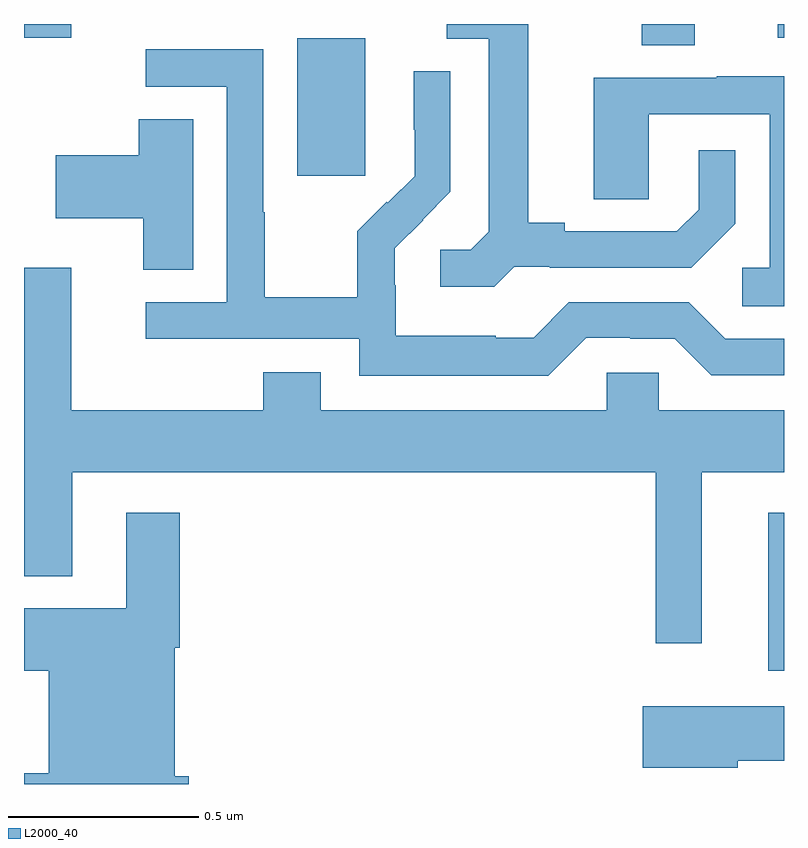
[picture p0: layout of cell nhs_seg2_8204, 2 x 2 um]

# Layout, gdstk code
import gdstk
lib = gdstk.Library(unit=1e-6, precision=1e-09)
def R(c, l, rs):  # rectangles x0, y0, x1, y1
    for r in rs: c.add(gdstk.rectangle(r[:2], r[2:], *l))
def P(c, l, *ps):  # polygons
    for p in ps: c.add(gdstk.Polygon(p, *l))
L2000_40 = (2000, 40)

nhs_seg2_8204 = lib.new_cell('nhs_seg2_8204')
R(nhs_seg2_8204, L2000_40, [(214.958,663.098,215,663.514), (213.719,664.401,213.898,664.762), (214.625,664.744,214.765,664.8), (213,664.764,213.124,664.8), (214.983,664.764,215,664.8)])
P(nhs_seg2_8204, L2000_40, [(214.29,664.161),(214.384,664.161),(214.384,664.158),(214.756,664.158),(214.872,664.274),(214.872,664.468),(214.775,664.468),(214.775,664.311),(214.718,664.254),(214.423,664.254),(214.423,664.277),(214.327,664.277),(214.327,664.8),(214.113,664.8),(214.113,664.761),(214.223,664.761),(214.223,664.253),(214.176,664.206),(214.095,664.206),(214.095,664.109),(214.238,664.109)],
  [(214.479,663.975),(214.595,663.975),(214.595,663.972),(214.713,663.972),(214.809,663.876),(215,663.876),(215,663.972),(214.845,663.972),(214.749,664.068),(214.434,664.068),(214.341,663.975),(214.241,663.975),(214.241,663.979),(213.978,663.979),(213.978,664.113),(213.976,664.113),(213.976,664.21),(214.05,664.284),(214.049,664.285),(214.122,664.358),(214.122,664.676),(214.026,664.676),(214.026,664.522),(214.028,664.522),(214.028,664.4),(213.957,664.329),(213.954,664.332),(213.877,664.255),(213.877,664.081),(213.633,664.081),(213.633,664.304),(213.63,664.304),(213.63,664.734),(213.321,664.734),(213.321,664.635),(213.534,664.635),(213.534,664.068),(213.321,664.068),(213.321,663.972),(213.882,663.972),(213.882,663.875),(214.379,663.875)],
  [(215,664.663),(214.823,664.663),(214.823,664.659),(214.499,664.659),(214.499,664.339),(214.644,664.339),(214.644,664.563),(214.962,664.563),(214.962,664.158),(214.89,664.158),(214.89,664.057),(215,664.057)],
  [(213.445,664.55),(213.302,664.55),(213.302,664.455),(213.084,664.455),(213.084,664.289),(213.314,664.289),(213.314,664.153),(213.445,664.153)],
  [(214.533,663.784),(213.781,663.784),(213.781,663.883),(213.629,663.883),(213.629,663.784),(213.124,663.784),(213.124,664.159),(213,664.159),(213,663.347),(213.127,663.347),(213.127,663.62),(214.662,663.62),(214.662,663.171),(214.783,663.171),(214.783,663.62),(215,663.62),(215,663.784),(214.671,663.784),(214.671,663.882),(214.533,663.882)],
  [(213.434,662.82),(213.397,662.82),(213.397,663.158),(213.41,663.158),(213.41,663.514),(213.269,663.514),(213.269,663.262),(213,663.262),(213,663.098),(213.065,663.098),(213.065,662.828),(213,662.828),(213,662.8),(213.434,662.8)],
  [(214.878,662.861),(215,662.861),(215,663.004),(214.628,663.004),(214.628,662.843),(214.878,662.843)])

lib.write_gds('nhs_seg2_8204.gds')
